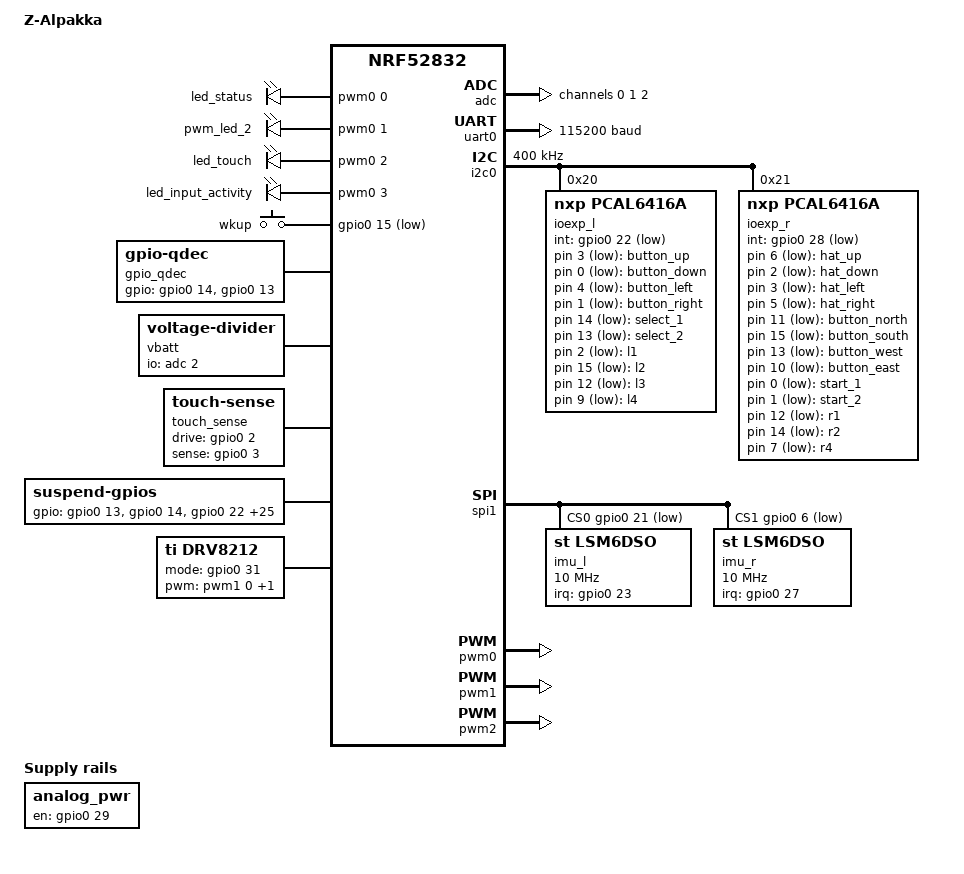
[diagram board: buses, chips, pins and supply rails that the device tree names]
/dts-v1/;
#include <nordic/nrf52832_qfaa.dtsi>
#include <zephyr/dt-bindings/input/input-event-codes.h>
#include "zalpakka-pinctrl.dtsi"
#include <dt-bindings/hid.h>

/ {
	model = "Z-Alpakka";
	compatible = "inputlabs,z-alpakka";

	chosen {
		zephyr,console = &uart0;
		zephyr,shell-uart = &uart0;
		zephyr,uart-mcumgr = &uart0;
		zephyr,sram = &sram0;
		zephyr,flash = &flash0;
		zephyr,code-partition = &slot0_partition;
	};

	pwmleds {
		compatible = "pwm-leds";
		led_status: pwm_led_1 {
			pwms = <&pwm0 0 PWM_HZ(200) PWM_POLARITY_NORMAL>;
		};
		pwm_led_2 {
			pwms = <&pwm0 1 PWM_HZ(200) PWM_POLARITY_NORMAL>;
		};
		led_touch: pwm_led_3 {
			pwms = <&pwm0 2 PWM_HZ(200) PWM_POLARITY_NORMAL>;
		};
		led_input_activity: pwm_led_4 {
			pwms = <&pwm0 3 PWM_HZ(200) PWM_POLARITY_NORMAL>;
		};
	};

	buttons: buttons {
		compatible = "gpio-keys";
		wkup: button_analog {
			gpios = <&gpio0 15 (GPIO_PULL_UP | GPIO_ACTIVE_LOW)>;
			zephyr,code = <INPUT_BTN_MODE>;
		};

		button_up {
			gpios = <&ioexp_l 3 (GPIO_PULL_UP | GPIO_ACTIVE_LOW)>;
			zephyr,code = <INPUT_KEY_W>;
		};
		button_down {
			gpios = <&ioexp_l 0 (GPIO_PULL_UP | GPIO_ACTIVE_LOW)>;
			zephyr,code = <INPUT_KEY_S>;
		};
		button_left {
			gpios = <&ioexp_l 4 (GPIO_PULL_UP | GPIO_ACTIVE_LOW)>;
			zephyr,code = <INPUT_KEY_A>;
		};
		button_right {
			gpios = <&ioexp_l 1 (GPIO_PULL_UP | GPIO_ACTIVE_LOW)>;
			zephyr,code = <INPUT_KEY_D>;
		};

		hat_up {
			gpios = <&ioexp_r 6 (GPIO_PULL_UP | GPIO_ACTIVE_LOW)>;
			zephyr,code = <INPUT_BTN_DPAD_UP>;
		};
		hat_down {
			gpios = <&ioexp_r 2 (GPIO_PULL_UP | GPIO_ACTIVE_LOW)>;
			zephyr,code = <INPUT_BTN_DPAD_DOWN>;
		};
		hat_left {
			gpios = <&ioexp_r 3 (GPIO_PULL_UP | GPIO_ACTIVE_LOW)>;
			zephyr,code = <INPUT_BTN_DPAD_LEFT>;
		};
		hat_right {
			gpios = <&ioexp_r 5 (GPIO_PULL_UP | GPIO_ACTIVE_LOW)>;
			zephyr,code = <INPUT_BTN_DPAD_RIGHT>;
		};
		/* clicks with the rest of the hat switches
		hat_press {
			gpios = <&ioexp_r 4 (GPIO_PULL_UP | GPIO_ACTIVE_LOW)>;
			zephyr,code = <INPUT_BTN_MIDDLE>;
		};
		*/

		button_north {
			gpios = <&ioexp_r 11 (GPIO_PULL_UP | GPIO_ACTIVE_LOW)>;
			zephyr,code = <INPUT_BTN_NORTH>;
		};
		button_south {
			gpios = <&ioexp_r 15 (GPIO_PULL_UP | GPIO_ACTIVE_LOW)>;
			zephyr,code = <INPUT_BTN_SOUTH>;
		};
		button_west {
			gpios = <&ioexp_r 13 (GPIO_PULL_UP | GPIO_ACTIVE_LOW)>;
			zephyr,code = <INPUT_BTN_WEST>;
		};
		button_east {
			gpios = <&ioexp_r 10 (GPIO_PULL_UP | GPIO_ACTIVE_LOW)>;
			zephyr,code = <INPUT_BTN_EAST>;
		};

		select_1 {
			gpios = <&ioexp_l 14 (GPIO_PULL_UP | GPIO_ACTIVE_LOW)>;
			zephyr,code = <INPUT_BTN_SELECT>;
		};
		select_2 {
			gpios = <&ioexp_l 13 (GPIO_PULL_UP | GPIO_ACTIVE_LOW)>;
			zephyr,code = <INPUT_KEY_A>;
		};
		start_1 {
			gpios = <&ioexp_r 0 (GPIO_PULL_UP | GPIO_ACTIVE_LOW)>;
			zephyr,code = <INPUT_BTN_START>;
		};
		start_2 {
			gpios = <&ioexp_r 1 (GPIO_PULL_UP | GPIO_ACTIVE_LOW)>;
			zephyr,code = <INPUT_KEY_B>;
		};

		l1 {
			gpios = <&ioexp_l 2 (GPIO_PULL_UP | GPIO_ACTIVE_LOW)>;
			zephyr,code = <INPUT_BTN_TL>;
		};
		l2 {
			gpios = <&ioexp_l 15 (GPIO_PULL_UP | GPIO_ACTIVE_LOW)>;
			zephyr,code = <INPUT_BTN_RIGHT>;
		};
		l3 {
			gpios = <&ioexp_l 12 (GPIO_PULL_UP | GPIO_ACTIVE_LOW)>;
			zephyr,code = <INPUT_BTN_THUMBL>;
		};
		l4 {
			gpios = <&ioexp_l 9 (GPIO_PULL_UP | GPIO_ACTIVE_LOW)>;
			zephyr,code = <INPUT_KEY_LEFTSHIFT>;
		};
		r1 {
			gpios = <&ioexp_r 12 (GPIO_PULL_UP | GPIO_ACTIVE_LOW)>;
			zephyr,code = <INPUT_BTN_TR>;
		};
		r2 {
			gpios = <&ioexp_r 14 (GPIO_PULL_UP | GPIO_ACTIVE_LOW)>;
			zephyr,code = <INPUT_BTN_LEFT>;
		};
		r4 {
			gpios = <&ioexp_r 7 (GPIO_PULL_UP | GPIO_ACTIVE_LOW)>;
			zephyr,code = <INPUT_KEY_RIGHTSHIFT>;
		};
	};

	gpio_qdec: qdec {
		compatible = "gpio-qdec";
		gpios = <&gpio0 14 (GPIO_PULL_UP | GPIO_ACTIVE_HIGH)>,
		        <&gpio0 13 (GPIO_PULL_UP | GPIO_ACTIVE_HIGH)>;
		steps-per-period = <2>;
		zephyr,axis = <INPUT_REL_WHEEL>;
		sample-time-us = <2000>;
		idle-timeout-ms = <200>;
	};

	aa: analog_axis {
		compatible = "analog-axis";
		axis-x {
			io-channels = <&adc 1>;
			in-deadzone = <50>;
			in-min = <100>;
			in-max = <800>;
			zephyr,axis = <INPUT_ABS_X>;
		};
		axis-y {
			io-channels = <&adc 0>;
			in-deadzone = <50>;
			in-min = <100>;
			in-max = <800>;
			zephyr,axis = <INPUT_ABS_Y>;
		};
	};

	analog_pwr: analog_pwr {
		 compatible = "regulator-fixed";
		 regulator-name = "analog_pwr";
		 enable-gpios = <&gpio0 29 GPIO_ACTIVE_HIGH>;
		 regulator-boot-on;
	};

	vbatt: vbatt {
		compatible = "voltage-divider";
		io-channels = <&adc 2>;
		output-ohms = <100000>;
		full-ohms = <200000>;
	};

	touch_sense: touch-sense {
		compatible = "touch-sense";
		drive-gpios = <&gpio0 2 GPIO_ACTIVE_HIGH>;
		sense-gpios = <&gpio0 3 GPIO_ACTIVE_HIGH>;
	};

	gyro: gyro {
		compatible = "gyro";
		imu-l = <&imu_l>;
		imu-r = <&imu_r>;
	};

	suspend-gpios {
		compatible = "suspend-gpios";
		gpios = <&gpio0 13 (GPIO_PULL_DOWN | GPIO_ACTIVE_HIGH)>,
			<&gpio0 14 (GPIO_PULL_DOWN | GPIO_ACTIVE_HIGH)>,
			<&gpio0 22 (GPIO_PULL_DOWN | GPIO_ACTIVE_HIGH)>,
			<&gpio0 28 (GPIO_PULL_DOWN | GPIO_ACTIVE_HIGH)>,
			<&ioexp_l  0 (GPIO_PULL_DOWN | GPIO_ACTIVE_HIGH)>,
			<&ioexp_l  1 (GPIO_PULL_DOWN | GPIO_ACTIVE_HIGH)>,
			<&ioexp_l  2 (GPIO_PULL_DOWN | GPIO_ACTIVE_HIGH)>,
			<&ioexp_l  3 (GPIO_PULL_DOWN | GPIO_ACTIVE_HIGH)>,
			<&ioexp_l  4 (GPIO_PULL_DOWN | GPIO_ACTIVE_HIGH)>,
			<&ioexp_l  9 (GPIO_PULL_DOWN | GPIO_ACTIVE_HIGH)>,
			<&ioexp_l 12 (GPIO_PULL_DOWN | GPIO_ACTIVE_HIGH)>,
			<&ioexp_l 13 (GPIO_PULL_DOWN | GPIO_ACTIVE_HIGH)>,
			<&ioexp_l 14 (GPIO_PULL_DOWN | GPIO_ACTIVE_HIGH)>,
			<&ioexp_l 15 (GPIO_PULL_DOWN | GPIO_ACTIVE_HIGH)>,
			<&ioexp_r  0 (GPIO_PULL_DOWN | GPIO_ACTIVE_HIGH)>,
			<&ioexp_r  1 (GPIO_PULL_DOWN | GPIO_ACTIVE_HIGH)>,
			<&ioexp_r  2 (GPIO_PULL_DOWN | GPIO_ACTIVE_HIGH)>,
			<&ioexp_r  3 (GPIO_PULL_DOWN | GPIO_ACTIVE_HIGH)>,
			<&ioexp_r  4 (GPIO_PULL_DOWN | GPIO_ACTIVE_HIGH)>,
			<&ioexp_r  5 (GPIO_PULL_DOWN | GPIO_ACTIVE_HIGH)>,
			<&ioexp_r  6 (GPIO_PULL_DOWN | GPIO_ACTIVE_HIGH)>,
			<&ioexp_r  7 (GPIO_PULL_DOWN | GPIO_ACTIVE_HIGH)>,
			<&ioexp_r 10 (GPIO_PULL_DOWN | GPIO_ACTIVE_HIGH)>,
			<&ioexp_r 11 (GPIO_PULL_DOWN | GPIO_ACTIVE_HIGH)>,
			<&ioexp_r 12 (GPIO_PULL_DOWN | GPIO_ACTIVE_HIGH)>,
			<&ioexp_r 13 (GPIO_PULL_DOWN | GPIO_ACTIVE_HIGH)>,
			<&ioexp_r 14 (GPIO_PULL_DOWN | GPIO_ACTIVE_HIGH)>,
			<&ioexp_r 15 (GPIO_PULL_DOWN | GPIO_ACTIVE_HIGH)>;
	};

	drv8212: drv8212 {
		compatible = "ti,drv8212";
		mode-gpios = <&gpio0 31 GPIO_ACTIVE_HIGH>;
		pwms = <&pwm1 0 PWM_HZ(160) PWM_POLARITY_NORMAL>,
		       <&pwm2 0 PWM_KHZ(8) PWM_POLARITY_NORMAL>;
	};

	hid {
		compatible = "hid";
		input {
			hid-gamepad {
				compatible = "hid-gamepad";
				input = <&aa &buttons>;
				input-id = <1>;
				report = <HID_GAMEPAD_REPORT(1)>;
			};
			hid-mouse {
				compatible = "hid-mouse";
				input = <&gyro &gpio_qdec &buttons>;
				input-id = <2>;
				report = <HID_MOUSE_REPORT(2)>;
			};
			hid-kbd {
				compatible = "hid-kbd";
				input = <&buttons>;
				input-id = <3>;
				report = <HID_KBD_REPORT(3, 0)>;
			};
		};
		output {
			hid-hog {
				compatible = "hid-hog";
			};
		};
	};

};

&uicr {
	nfct-pins-as-gpios;
};

&adc {
	status = "okay";
	#address-cells = <1>;
	#size-cells = <0>;

	channel@0 {
		reg = <0>;
		zephyr,gain = "ADC_GAIN_1_5";
		zephyr,reference = "ADC_REF_INTERNAL";
		zephyr,acquisition-time = <ADC_ACQ_TIME(ADC_ACQ_TIME_MICROSECONDS, 5)>;
		zephyr,input-positive = <NRF_SAADC_AIN2>;
		zephyr,resolution = <10>;
	};

	channel@1 {
		reg = <1>;
		zephyr,gain = "ADC_GAIN_1_5";
		zephyr,reference = "ADC_REF_INTERNAL";
		zephyr,acquisition-time = <ADC_ACQ_TIME(ADC_ACQ_TIME_MICROSECONDS, 5)>;
		zephyr,input-positive = <NRF_SAADC_AIN3>;
		zephyr,resolution = <10>;
	};

	channel@2 {
		reg = <2>;
		zephyr,gain = "ADC_GAIN_1_4";
		zephyr,reference = "ADC_REF_INTERNAL";
		zephyr,acquisition-time = <ADC_ACQ_TIME(ADC_ACQ_TIME_MICROSECONDS, 40)>;
		zephyr,input-positive = <NRF_SAADC_AIN6>;
		zephyr,resolution = <10>;
	};
};

&gpiote {
	status = "okay";
};

&gpio0 {
	status = "okay";
};

&uart0 {
	status = "okay";
	compatible = "nordic,nrf-uarte";
	current-speed = <115200>;
	pinctrl-0 = <&uart0_default>;
	pinctrl-1 = <&uart0_sleep>;
	pinctrl-names = "default", "sleep";
};

&i2c0 {
	compatible = "nordic,nrf-twi";
	status = "okay";
	clock-frequency = <I2C_BITRATE_FAST>;
	pinctrl-0 = <&i2c0_default>;
	pinctrl-1 = <&i2c0_sleep>;
	pinctrl-names = "default", "sleep";

	ioexp_l: pcal6416a@20 {
		compatible = "nxp,pcal6416a";
		status = "okay";
		reg = <0x20>;
		gpio-controller;
		#gpio-cells = <2>;
		ngpios = <16>;
		int-gpios = <&gpio0 22 (GPIO_PULL_UP | GPIO_ACTIVE_LOW)>;
	};

	ioexp_r: pcal6416a@21 {
		compatible = "nxp,pcal6416a";
		status = "okay";
		reg = <0x21>;
		gpio-controller;
		#gpio-cells = <2>;
		ngpios = <16>;
		int-gpios = <&gpio0 28 (GPIO_PULL_UP | GPIO_ACTIVE_LOW)>;
	};
};

&spi1 {
	compatible = "nordic,nrf-spi";
	status = "okay";
	pinctrl-0 = <&spi1_default>;
	pinctrl-1 = <&spi1_sleep>;
	pinctrl-names = "default", "sleep";

	cs-gpios = <&gpio0 21 GPIO_ACTIVE_LOW>, <&gpio0 6 GPIO_ACTIVE_LOW>;

	imu_l: lsm6dso@0 {
		compatible = "st,lsm6dso";
		spi-max-frequency = <DT_FREQ_M(10)>;
		reg = <0>;
		irq-gpios = <&gpio0 23 GPIO_ACTIVE_HIGH>;
	};

	imu_r: lsm6dso@1 {
		compatible = "st,lsm6dso";
		spi-max-frequency = <DT_FREQ_M(10)>;
		reg = <1>;
		irq-gpios = <&gpio0 27 GPIO_ACTIVE_HIGH>;
	};
};

&pwm0 {
	status = "okay";
	pinctrl-0 = <&pwm0_default>;
	pinctrl-1 = <&pwm0_sleep>;
	pinctrl-names = "default", "sleep";
};

&pwm1 {
	status = "okay";
	pinctrl-0 = <&pwm1_default>;
	pinctrl-1 = <&pwm1_sleep>;
	pinctrl-names = "default", "sleep";
};

&pwm2 {
	status = "okay";
	pinctrl-0 = <&pwm2_default>;
	pinctrl-1 = <&pwm2_sleep>;
	pinctrl-names = "default", "sleep";
};

&flash0 {
	partitions {
		compatible = "fixed-partitions";
		#address-cells = <1>;
		#size-cells = <1>;

		boot_partition: partition@0 {
			label = "mcuboot";
			reg = <0x00000000 0x8000>;
		};
		slot0_partition: partition@8000 {
			label = "image-0";
			reg = <0x00008000 0x3a000>;
		};
		slot1_partition: partition@42000 {
			label = "image-1";
			reg = <0x00042000 0x3a000>;
		};
		storage_partition: partition@7c000 {
			label = "storage";
			reg = <0x0007c000 0x00004000>;
		};
	};
};
